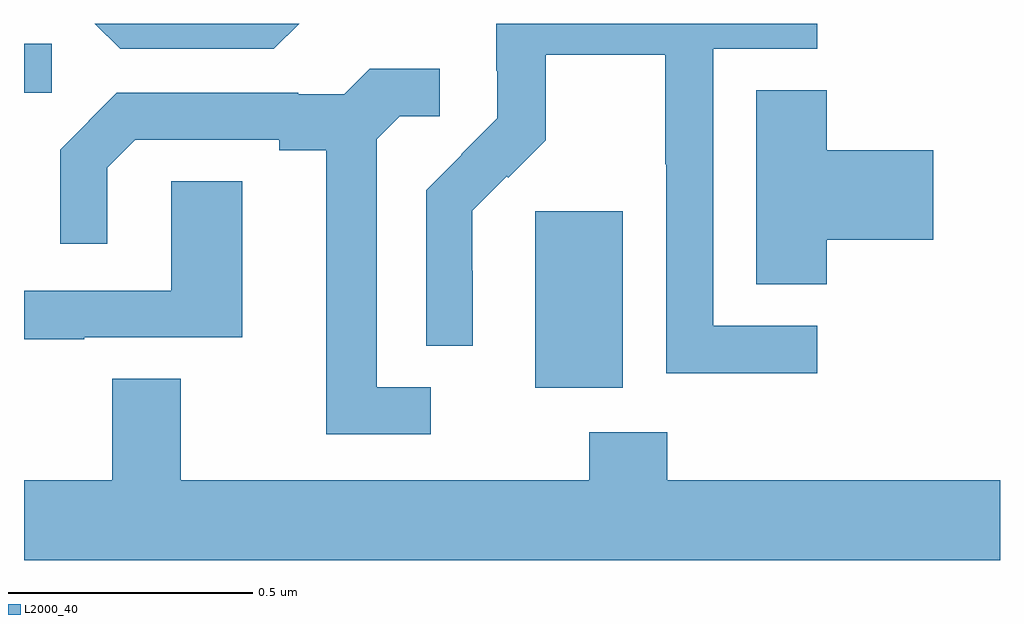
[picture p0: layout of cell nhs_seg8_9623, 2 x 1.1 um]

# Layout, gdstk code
import gdstk
lib = gdstk.Library(unit=1e-6, precision=1e-09)
def R(c, l, rs):  # rectangles x0, y0, x1, y1
    for r in rs: c.add(gdstk.rectangle(r[:2], r[2:], *l))
def P(c, l, *ps):  # polygons
    for p in ps: c.add(gdstk.Polygon(p, *l))
L2000_40 = (2000, 40)

nhs_seg8_9623 = lib.new_cell('nhs_seg8_9623')
R(nhs_seg8_9623, L2000_40, [(239.048,1150.154,239.227,1150.515), (238,1150.758,238.057,1150.859)])
P(nhs_seg8_9623, L2000_40, [(238.564,1150.9),(238.145,1150.9),(238.197,1150.848),(238.512,1150.848)],
  [(239.626,1150.281),(239.412,1150.281),(239.412,1150.848),(239.626,1150.848),(239.626,1150.9),(238.968,1150.9),(238.968,1150.803),(238.97,1150.803),(238.97,1150.706),(238.896,1150.632),(238.897,1150.631),(238.824,1150.558),(238.824,1150.24),(238.92,1150.24),(238.92,1150.394),(238.919,1150.394),(238.919,1150.517),(238.989,1150.587),(238.992,1150.584),(239.069,1150.661),(239.069,1150.836),(239.314,1150.836),(239.314,1150.612),(239.316,1150.612),(239.316,1150.183),(239.626,1150.183)],
  [(238.834,1150.155),(238.723,1150.155),(238.723,1150.663),(238.77,1150.71),(238.852,1150.71),(238.852,1150.807),(238.708,1150.807),(238.656,1150.755),(238.562,1150.755),(238.562,1150.758),(238.19,1150.758),(238.074,1150.642),(238.074,1150.449),(238.171,1150.449),(238.171,1150.605),(238.228,1150.662),(238.523,1150.662),(238.523,1150.64),(238.619,1150.64),(238.619,1150.059),(238.834,1150.059)],
  [(239.645,1150.457),(239.863,1150.457),(239.863,1150.64),(239.645,1150.64),(239.645,1150.763),(239.501,1150.763),(239.501,1150.366),(239.645,1150.366)],
  [(238.123,1150.257),(238.447,1150.257),(238.447,1150.577),(238.302,1150.577),(238.302,1150.353),(238,1150.353),(238,1150.253),(238.123,1150.253)],
  [(240,1149.964),(239.318,1149.964),(239.318,1150.063),(239.158,1150.063),(239.158,1149.964),(238.321,1149.964),(238.321,1150.172),(238.181,1150.172),(238.181,1149.964),(238,1149.964),(238,1149.8),(240,1149.8)])

lib.write_gds('nhs_seg8_9623.gds')
